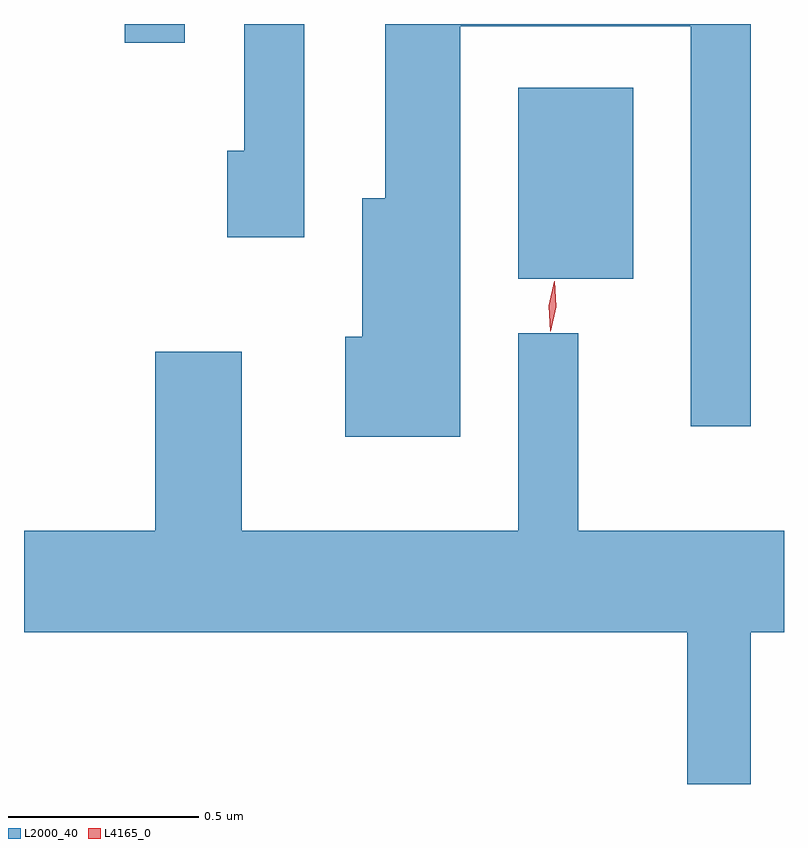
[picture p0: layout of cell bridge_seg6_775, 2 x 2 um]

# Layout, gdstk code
import gdstk
lib = gdstk.Library(unit=1e-6, precision=1e-09)
def R(c, l, rs):  # rectangles x0, y0, x1, y1
    for r in rs: c.add(gdstk.rectangle(r[:2], r[2:], *l))
def P(c, l, *ps):  # polygons
    for p in ps: c.add(gdstk.Polygon(p, *l))
L2000_40 = (2000, 40)
L4165_0 = (4165, 0)

bridge_seg6_775 = lib.new_cell('bridge_seg6_775')
R(bridge_seg6_775, L2000_40, [(606.366,1544.306,606.669,1544.809), (605.331,1544.928,605.489,1544.977)])
P(bridge_seg6_775, L2000_40, [(606.214,1544.971),(606.821,1544.971),(606.821,1543.918),(606.979,1543.918),(606.979,1544.977),(606.016,1544.977),(606.016,1544.519),(605.956,1544.519),(605.956,1544.154),(605.911,1544.154),(605.911,1543.891),(606.214,1543.891)],
  [(605.804,1544.977),(605.646,1544.977),(605.646,1544.644),(605.601,1544.644),(605.601,1544.416),(605.804,1544.416)],
  [(606.979,1543.376),(607.066,1543.376),(607.066,1543.644),(606.524,1543.644),(606.524,1544.163),(606.366,1544.163),(606.366,1543.644),(605.639,1543.644),(605.639,1544.114),(605.411,1544.114),(605.411,1543.644),(605.066,1543.644),(605.066,1543.376),(606.811,1543.376),(606.811,1542.977),(606.979,1542.977)])
P(bridge_seg6_775, L4165_0, [(606.451,1544.168),(606.447,1544.235),(606.462,1544.3),(606.462,1544.3),(606.463,1544.3),(606.467,1544.233),(606.452,1544.168),(606.452,1544.168)])

lib.write_gds('bridge_seg6_775.gds')
